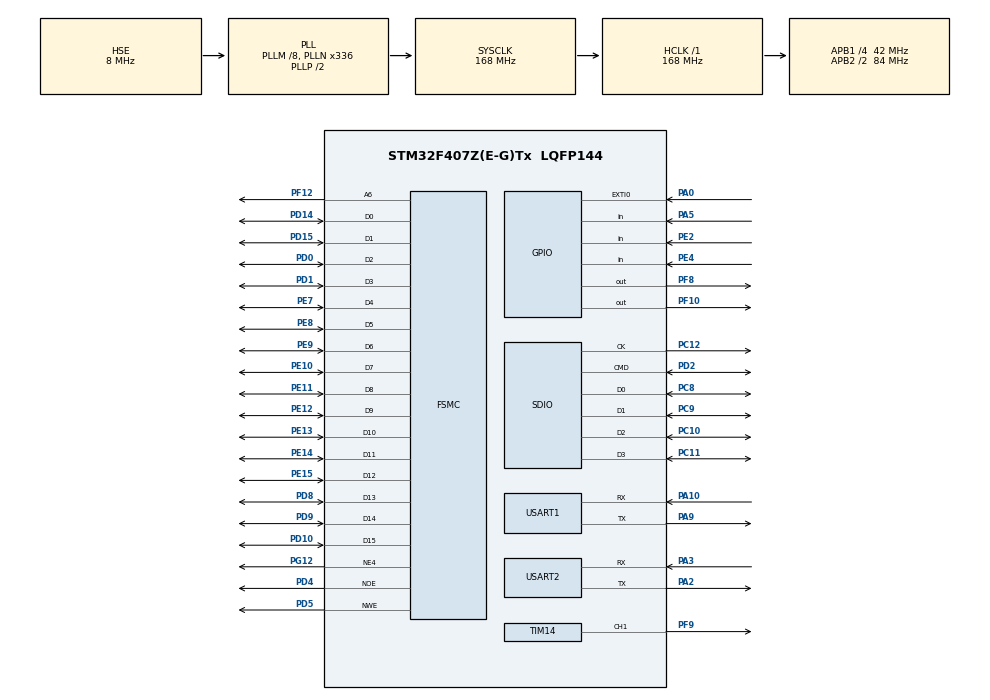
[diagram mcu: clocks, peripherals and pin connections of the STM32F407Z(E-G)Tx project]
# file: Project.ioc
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Dma.Request0=USART2_TX
Dma.Request1=USART2_RX
Dma.Request2=SDIO_RX
Dma.Request3=SDIO_TX
Dma.SDIO_RX.2.Direction=DMA_PERIPH_TO_MEMORY
Dma.SDIO_RX.2.FIFOMode=DMA_FIFOMODE_ENABLE
Dma.SDIO_RX.2.FIFOThreshold=DMA_FIFO_THRESHOLD_FULL
Dma.SDIO_RX.2.Instance=DMA2_Stream3
Dma.SDIO_RX.2.MemBurst=DMA_MBURST_INC4
Dma.SDIO_RX.2.MemDataAlignment=DMA_MDATAALIGN_WORD
Dma.SDIO_RX.2.MemInc=DMA_MINC_ENABLE
Dma.SDIO_RX.2.Mode=DMA_PFCTRL
Dma.SDIO_RX.2.PeriphBurst=DMA_PBURST_INC4
Dma.SDIO_RX.2.PeriphDataAlignment=DMA_PDATAALIGN_WORD
Dma.SDIO_RX.2.PeriphInc=DMA_PINC_DISABLE
Dma.SDIO_RX.2.Priority=DMA_PRIORITY_VERY_HIGH
Dma.SDIO_TX.3.Direction=DMA_MEMORY_TO_PERIPH
Dma.SDIO_TX.3.FIFOMode=DMA_FIFOMODE_ENABLE
Dma.SDIO_TX.3.FIFOThreshold=DMA_FIFO_THRESHOLD_FULL
Dma.SDIO_TX.3.Instance=DMA2_Stream6
Dma.SDIO_TX.3.MemBurst=DMA_MBURST_INC4
Dma.SDIO_TX.3.MemDataAlignment=DMA_MDATAALIGN_WORD
Dma.SDIO_TX.3.MemInc=DMA_MINC_ENABLE
Dma.SDIO_TX.3.Mode=DMA_PFCTRL
Dma.SDIO_TX.3.PeriphBurst=DMA_PBURST_INC4
Dma.SDIO_TX.3.PeriphDataAlignment=DMA_PDATAALIGN_WORD
Dma.SDIO_TX.3.PeriphInc=DMA_PINC_DISABLE
Dma.SDIO_TX.3.Priority=DMA_PRIORITY_VERY_HIGH
Dma.USART2_RX.1.Direction=DMA_PERIPH_TO_MEMORY
Dma.USART2_RX.1.FIFOMode=DMA_FIFOMODE_DISABLE
Dma.USART2_RX.1.Instance=DMA1_Stream5
Dma.USART2_RX.1.MemDataAlignment=DMA_MDATAALIGN_BYTE
Dma.USART2_RX.1.MemInc=DMA_MINC_ENABLE
Dma.USART2_RX.1.Mode=DMA_NORMAL
Dma.USART2_RX.1.PeriphDataAlignment=DMA_PDATAALIGN_BYTE
Dma.USART2_RX.1.PeriphInc=DMA_PINC_DISABLE
Dma.USART2_RX.1.Priority=DMA_PRIORITY_MEDIUM
Dma.USART2_TX.0.Direction=DMA_MEMORY_TO_PERIPH
Dma.USART2_TX.0.FIFOMode=DMA_FIFOMODE_DISABLE
Dma.USART2_TX.0.Instance=DMA1_Stream6
Dma.USART2_TX.0.MemDataAlignment=DMA_MDATAALIGN_BYTE
Dma.USART2_TX.0.MemInc=DMA_MINC_ENABLE
Dma.USART2_TX.0.Mode=DMA_NORMAL
Dma.USART2_TX.0.PeriphDataAlignment=DMA_PDATAALIGN_BYTE
Dma.USART2_TX.0.PeriphInc=DMA_PINC_DISABLE
Dma.USART2_TX.0.Priority=DMA_PRIORITY_MEDIUM
FATFS._USE_LFN=3
FREERTOS.Mutexes01=LcdMutex,Dynamic,NULL,Available
FREERTOS.Queues01=SensorQueue,5,uint32_t,0,Dynamic,NULL,NULL
FREERTOS.Tasks01=Task_ReadSensor,2,512,StartTask_ReadSensor,Default,NULL,Dynamic,NULL,NULL;Task_Display,0,512,StartTask_Display,Default,NULL,Dynamic,NULL,NULL;Task_RS485,0,512,StartTask_RS485,Default,NULL,Dynamic,NULL,NULL;WatchdogTask,-2,128,StartWatchdogTask,Default,NULL,Dynamic,NULL,NULL
IWDG.Prescaler=IWDG_PRESCALER_64
Mcu.Family=STM32F4
Mcu.Name=STM32F407Z(E-G)Tx
Mcu.Package=LQFP144
NVIC.DMA1_Stream5_IRQn=true\:5\:0\:false\:false\:true\:true\:false\:true\:true
NVIC.DMA1_Stream6_IRQn=true\:5\:0\:false\:false\:true\:true\:false\:true\:true
NVIC.DMA2_Stream3_IRQn=true\:5\:0\:false\:false\:true\:true\:false\:true\:true
NVIC.DMA2_Stream6_IRQn=true\:5\:0\:false\:false\:true\:true\:false\:true\:true
NVIC.EXTI0_IRQn=true\:5\:0\:true\:false\:true\:true\:true\:true\:true
NVIC.PriorityGroup=NVIC_PRIORITYGROUP_4
NVIC.SDIO_IRQn=true\:5\:0\:false\:false\:true\:true\:true\:true\:true
NVIC.TIM2_IRQn=true\:5\:0\:false\:false\:true\:true\:true\:true\:true
NVIC.USART1_IRQn=true\:5\:0\:false\:false\:true\:true\:true\:true\:true
NVIC.USART2_IRQn=true\:5\:0\:false\:false\:true\:true\:true\:true\:true
PA0-WKUP.GPIO_PuPd=GPIO_PULLDOWN
PA0-WKUP.Signal=GPXTI0
PA10.Mode=Asynchronous
PA10.Signal=USART1_RX
PA2.Mode=Asynchronous
PA2.Signal=USART2_TX
PA3.Mode=Asynchronous
PA3.Signal=USART2_RX
PA5.GPIO_PuPd=GPIO_PULLUP
PA5.Signal=GPIO_Input
PA9.Mode=Asynchronous
PA9.Signal=USART1_TX
PC10.Mode=SD_4_bits_Wide_bus
PC10.Signal=SDIO_D2
PC11.Mode=SD_4_bits_Wide_bus
PC11.Signal=SDIO_D3
PC12.Mode=SD_4_bits_Wide_bus
PC12.Signal=SDIO_CK
PC8.Mode=SD_4_bits_Wide_bus
PC8.Signal=SDIO_D0
PC9.Mode=SD_4_bits_Wide_bus
PC9.Signal=SDIO_D1
PD0.Signal=FSMC_D2_DA2
PD1.Signal=FSMC_D3_DA3
PD10.Signal=FSMC_D15_DA15
PD14.Signal=FSMC_D0_DA0
PD15.Signal=FSMC_D1_DA1
PD2.Mode=SD_4_bits_Wide_bus
PD2.Signal=SDIO_CMD
PD4.Signal=FSMC_NOE
PD5.Signal=FSMC_NWE
PD8.Signal=FSMC_D13_DA13
PD9.Signal=FSMC_D14_DA14
PE10.Signal=FSMC_D7_DA7
PE11.Signal=FSMC_D8_DA8
PE12.Signal=FSMC_D9_DA9
PE13.Signal=FSMC_D10_DA10
PE14.Signal=FSMC_D11_DA11
PE15.Signal=FSMC_D12_DA12
PE2.GPIO_PuPd=GPIO_PULLUP
PE2.Signal=GPIO_Input
PE4.GPIO_PuPd=GPIO_PULLUP
PE4.Signal=GPIO_Input
PE7.Signal=FSMC_D4_DA4
PE8.Signal=FSMC_D5_DA5
PE9.Signal=FSMC_D6_DA6
PF10.GPIO_PuPd=GPIO_PULLUP
PF10.Signal=GPIO_Output
PF12.Signal=FSMC_A6
PF8.GPIO_Speed=GPIO_SPEED_FREQ_HIGH
PF8.PinState=GPIO_PIN_RESET
PF8.Signal=GPIO_Output
PF9.Signal=S_TIM14_CH1
PG12.Mode=NorPsramChipSelect4_1
PG12.Signal=FSMC_NE4
PH0-OSC_IN.Mode=HSE-External-Oscillator
PH0-OSC_IN.Signal=RCC_OSC_IN
PH1-OSC_OUT.Mode=HSE-External-Oscillator
PH1-OSC_OUT.Signal=RCC_OSC_OUT
ProjectManager.HeapSize=0x200
ProjectManager.StackSize=0x400
ProjectManager.TargetToolchain=MDK-ARM V5.32
RCC.48MHZClocksFreq_Value=48000000
RCC.AHBFreq_Value=168000000
RCC.APB1CLKDivider=RCC_HCLK_DIV4
RCC.APB1Freq_Value=42000000
RCC.APB1TimFreq_Value=84000000
RCC.APB2CLKDivider=RCC_HCLK_DIV2
RCC.APB2Freq_Value=84000000
RCC.APB2TimFreq_Value=168000000
RCC.CortexFreq_Value=168000000
RCC.HCLKFreq_Value=168000000
RCC.HSE_VALUE=8000000
RCC.HSI_VALUE=16000000
RCC.LSE_VALUE=32768
RCC.PLLM=8
RCC.PLLN=336
RCC.PLLQ=7
RCC.PLLSourceVirtual=RCC_PLLSOURCE_HSE
RCC.SYSCLKFreq_VALUE=168000000
RCC.SYSCLKSource=RCC_SYSCLKSOURCE_PLLCLK
RCC.VCOOutputFreq_Value=336000000
SH.FSMC_A6.0=FSMC_A6,A6_1
SH.FSMC_D0_DA0.0=FSMC_D0,16b-d1
SH.FSMC_D10_DA10.0=FSMC_D10,16b-d1
SH.FSMC_D11_DA11.0=FSMC_D11,16b-d1
SH.FSMC_D12_DA12.0=FSMC_D12,16b-d1
SH.FSMC_D13_DA13.0=FSMC_D13,16b-d1
SH.FSMC_D14_DA14.0=FSMC_D14,16b-d1
SH.FSMC_D15_DA15.0=FSMC_D15,16b-d1
SH.FSMC_D1_DA1.0=FSMC_D1,16b-d1
SH.FSMC_D2_DA2.0=FSMC_D2,16b-d1
SH.FSMC_D3_DA3.0=FSMC_D3,16b-d1
SH.FSMC_D4_DA4.0=FSMC_D4,16b-d1
SH.FSMC_D5_DA5.0=FSMC_D5,16b-d1
SH.FSMC_D6_DA6.0=FSMC_D6,16b-d1
SH.FSMC_D7_DA7.0=FSMC_D7,16b-d1
SH.FSMC_D8_DA8.0=FSMC_D8,16b-d1
SH.FSMC_D9_DA9.0=FSMC_D9,16b-d1
SH.FSMC_NOE.0=FSMC_NOE,Lcd1
SH.FSMC_NWE.0=FSMC_NWE,Lcd1
SH.S_TIM14_CH1.0=TIM14_CH1,PWM Generation1 CH1
TIM14.Channel=TIM_CHANNEL_1
TIM14.Period=999
TIM14.Prescaler=8400-1
TIM2.AutoReloadPreload=TIM_AUTORELOAD_PRELOAD_ENABLE
TIM2.Period=0xFFFFFFFF
TIM2.Prescaler=83
USART1.VirtualMode=VM_ASYNC
USART2.VirtualMode=VM_ASYNC
VP_FATFS_VS_SDIO.Mode=SDIO
VP_FREERTOS_VS_CMSIS_V1.Mode=CMSIS_V1
VP_IWDG_VS_IWDG.Mode=IWDG_Activate
VP_TIM14_VS_ClockSourceINT.Mode=Enable_Timer
VP_TIM2_VS_ClockSourceINT.Mode=Internal
board=custom

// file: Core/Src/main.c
/* USER CODE BEGIN Header */
/**
  ******************************************************************************
  * @file           : main.c
  * @brief          : Main program body
  ******************************************************************************
  * @attention
  *
  * Copyright (c) 2026 STMicroelectronics.
  * All rights reserved.
  *
  * This software is licensed under terms that can be found in the LICENSE file
  * in the root directory of this software component.
  * If no LICENSE file comes with this software, it is provided AS-IS.
  *
  ******************************************************************************
  */
/* USER CODE END Header */
#include "main.h"
#include "cmsis_os.h"
#include "dma.h"
#include "fatfs.h"
#include "sdio.h"
#include "tim.h"
#include "usart.h"
#include "gpio.h"
#include "fsmc.h"

/* USER CODE BEGIN Includes */
#include "delay.h"
#include<stdio.h>
#include "flash.h"

extern uint8_t set_mode_flag;
extern UART_HandleTypeDef huart1;
/* USER CODE END Includes */

/* USER CODE BEGIN PV */
float temp_alarm_threshold;

/* USER CODE END PV */

void SystemClock_Config(void);
void MX_FREERTOS_Init(void);

/* USER CODE BEGIN 0 */
int fputc(int ch, FILE *f)
{
  HAL_UART_Transmit(&huart2, (uint8_t *)&ch, 1, 0xFFFF);
  return ch;
}
/* USER CODE END 0 */

int main(void)
{

  /* MCU Configuration--------------------------------------------------------*/

  /* Reset of all peripherals, Initializes the Flash interface and the Systick. */
  HAL_Init();

  /* Configure the system clock */
  SystemClock_Config();

  /* Initialize all configured peripherals */
  MX_GPIO_Init();
  MX_DMA_Init();
  MX_SDIO_SD_Init();
  MX_TIM2_Init();
  MX_USART1_UART_Init();
  MX_USART2_UART_Init();
  MX_FATFS_Init();
  MX_TIM14_Init();
  MX_FSMC_Init();
  /* USER CODE BEGIN 2 */
  delay_init(168); // 168MHz
  set_mode_flag = 0;

  /* USER CODE END 2 */

  /* Call init function for freertos objects (in cmsis_os2.c) */
  MX_FREERTOS_Init();

  /* Start scheduler */
  osKernelStart();

  /* We should never get here as control is now taken by the scheduler */

  /* Infinite loop */
  while (1)
  {
	}
}

void SystemClock_Config(void)
{
  RCC_OscInitTypeDef RCC_OscInitStruct = {0};
  RCC_ClkInitTypeDef RCC_ClkInitStruct = {0};

  /** Configure the main internal regulator output voltage
  */
  __HAL_RCC_PWR_CLK_ENABLE();
  __HAL_PWR_VOLTAGESCALING_CONFIG(PWR_REGULATOR_VOLTAGE_SCALE1);

  /** Initializes the RCC Oscillators according to the specified parameters
  * in the RCC_OscInitTypeDef structure.
  */
  RCC_OscInitStruct.OscillatorType = RCC_OSCILLATORTYPE_HSE;
  RCC_OscInitStruct.HSEState = RCC_HSE_ON;
  RCC_OscInitStruct.PLL.PLLState = RCC_PLL_ON;
  RCC_OscInitStruct.PLL.PLLSource = RCC_PLLSOURCE_HSE;
  RCC_OscInitStruct.PLL.PLLM = 8;
  RCC_OscInitStruct.PLL.PLLN = 336;
  RCC_OscInitStruct.PLL.PLLP = RCC_PLLP_DIV2;
  RCC_OscInitStruct.PLL.PLLQ = 7;
  if (HAL_RCC_OscConfig(&RCC_OscInitStruct) != HAL_OK)
  {
    Error_Handler();
  }

  /** Initializes the CPU, AHB and APB buses clocks
  */
  RCC_ClkInitStruct.ClockType = RCC_CLOCKTYPE_HCLK|RCC_CLOCKTYPE_SYSCLK
                              |RCC_CLOCKTYPE_PCLK1|RCC_CLOCKTYPE_PCLK2;
  RCC_ClkInitStruct.SYSCLKSource = RCC_SYSCLKSOURCE_PLLCLK;
  RCC_ClkInitStruct.AHBCLKDivider = RCC_SYSCLK_DIV1;
  RCC_ClkInitStruct.APB1CLKDivider = RCC_HCLK_DIV4;
  RCC_ClkInitStruct.APB2CLKDivider = RCC_HCLK_DIV2;

  if (HAL_RCC_ClockConfig(&RCC_ClkInitStruct, FLASH_LATENCY_5) != HAL_OK)
  {
    Error_Handler();
  }
}

void Error_Handler(void)
{
  __disable_irq();
  while (1)
  {
  }
}

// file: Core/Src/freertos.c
/* USER CODE BEGIN Header */
/**
  ******************************************************************************
  * File Name          : freertos.c
  * Description        : Code for freertos applications
  ******************************************************************************
  * @attention
  *
  * Copyright (c) 2026 STMicroelectronics.
  * All rights reserved.
  *
  * This software is licensed under terms that can be found in the LICENSE file
  * in the root directory of this software component.
  * If no LICENSE file comes with this software, it is provided AS-IS.
  *
  ******************************************************************************
  */
/* USER CODE END Header */

#include "FreeRTOS.h"
#include "task.h"
#include "main.h"
#include "cmsis_os.h"

/* USER CODE BEGIN Includes */
#include <string.h>
#include <stdio.h>
#include "delay.h"
#include "main.h"
#include "dht11.h"
#include "usart.h"
#include "lcd.h"
#include "flash.h"
#include "alarm.h"
#include "rs485.h"
#include "keytpad_input.h"
#include "fatfs.h"
#include "sdio.h"

/* USER CODE END Includes */

/* USER CODE BEGIN Variables */
// 一条消息：存放温度、湿度
typedef struct
{
  float temp;
  float humi;
  uint8_t ok; // 1成功，0失败
} SensorMsg_t;

//====新增轮换缓冲区，3块足够
static SensorMsg_t gMsgPoolSensor[5]; // 专供 Display
static SensorMsg_t gMsgPoolRS485[5];  // 专供 RS485
static uint8_t idxSensor = 0;
static uint8_t idxRS485 = 0;

typedef struct
{
  float temp;
  float humi;
  uint8_t ok;
} SensorData_t;

//====温湿度独立报警阈值====
//====温湿度报警阈值 (大棚用)====
float temp_alarm_high = 35.0f; // 温度上限
float temp_alarm_low = 5.0f;   // 温度下限
float humi_alarm_high = 95.0f; // 湿度上限
float humi_alarm_low = 30.0f;  // 湿度下限
uint8_t set_mode_flag;

// 在文件顶部定义状态
typedef enum
{
  MODE_NORMAL = 0, // 正常显示模式
  MODE_SET_TEMP,   // 设置温度阈值模式
  MODE_SET_HUMI    // 设置湿度阈值模式
} SystemMode_t;

#define RX_BUF_SIZE 128
uint8_t rx_byte;             // 单字节接收缓存
uint8_t rx_buf[RX_BUF_SIZE]; // 整帧缓存
uint16_t rx_index = 0;       // 当前写入位置
uint8_t rx_frame_ready = 0;  // 一帧接收完成标志

extern volatile uint16_t u1_rx_len; // 引用 usart.c 里的全局变量
extern uint8_t u1_rx_buf[];
extern volatile uint8_t u1_frame_ready;
extern void Reset_Uart(void);
#define USART1_RX_BUF_SIZE 128 // 全局状态变量
// static SystemMode_t sys_mode = MODE_NORMAL;
// static uint8_t setting_choice = 0; // 0=温度, 1=湿度

// 全局变量版本
//  float g_temperature = 0.0f;
//  float g_humidity = 0.0f;
//  uint8_t g_sensor_ok = 0; // 0=失败, 1=成功

//看门狗任务标志位
#define TASK_READ_SENSOR_BIT (1 << 0)
#define TASK_DISPLAY_BIT (1 << 1)
#define TASK_RS485_BIT (1 << 2)
#define ALL_TASK_BITS (TASK_READ_SENSOR_BIT | TASK_DISPLAY_BIT | TASK_RS485_BIT)

static volatile uint32_t g_task_alive_flags = 0;
volatile uint32_t g_wdg_feed_count = 0; // 调试用
extern IWDG_HandleTypeDef hiwdg;
/* USER CODE END Variables */

osMessageQId RS485QueueHandle;
/* USER CODE END Variables */
osThreadId Task_ReadSensorHandle;
osThreadId Task_DisplayHandle;
osThreadId Task_RS485Handle;
osThreadId WatchdogTaskHandle;
osMessageQId SensorQueueHandle;
osMutexId LcdMutexHandle;

/* USER CODE BEGIN FunctionPrototypes */
uint8_t USART1_GetSensorData(SensorData_t *out)
{
  if (!u1_frame_ready)
    return 0; /* 没有新帧，直接返回 */

  u1_frame_ready = 0;

  /* 补字符串结束符，方便 sscanf */
  if (u1_rx_len < USART1_RX_BUF_SIZE)
    u1_rx_buf[u1_rx_len] = '\0';

  /* 解析 "#T=%f,H=%f" */
  if (sscanf((char *)u1_rx_buf, "#T=%f,H=%f", &out->temp, &out->humi) == 2)
    out->ok = 1;
  else
    out->ok = 0;

  /* 处理完，重启接收，等下一帧 */
  Reset_Uart();

  return 1; /* 处理了一帧 */
}
/* USER CODE END FunctionPrototypes */

void StartTask_ReadSensor(void const * argument);
void StartTask_Display(void const * argument);
void StartTask_RS485(void const * argument);
void StartWatchdogTask(void const * argument);

void MX_FREERTOS_Init(void); /* (MISRA C 2004 rule 8.1) */

/* GetIdleTaskMemory prototype (linked to static allocation support) */
void vApplicationGetIdleTaskMemory( StaticTask_t **ppxIdleTaskTCBBuffer, StackType_t **ppxIdleTaskStackBuffer, uint32_t *pulIdleTaskStackSize );

/* USER CODE BEGIN GET_IDLE_TASK_MEMORY */
static StaticTask_t xIdleTaskTCBBuffer;
static StackType_t xIdleStack[configMINIMAL_STACK_SIZE];

void vApplicationGetIdleTaskMemory( StaticTask_t **ppxIdleTaskTCBBuffer, StackType_t **ppxIdleTaskStackBuffer, uint32_t *pulIdleTaskStackSize )
{
  *ppxIdleTaskTCBBuffer = &xIdleTaskTCBBuffer;
  *ppxIdleTaskStackBuffer = &xIdleStack[0];
  *pulIdleTaskStackSize = configMINIMAL_STACK_SIZE;
  /* place for user code */
}
/* USER CODE END GET_IDLE_TASK_MEMORY */

void MX_FREERTOS_Init(void) {
  /* Create the mutex(es) */
  /* definition and creation of LcdMutex */
  osMutexDef(LcdMutex);
  LcdMutexHandle = osMutexCreate(osMutex(LcdMutex));

  /* Create the queue(s) */
  /* definition and creation of SensorQueue */
  osMessageQDef(SensorQueue, 5, uint32_t);
  SensorQueueHandle = osMessageCreate(osMessageQ(SensorQueue), NULL);

  /* USER CODE BEGIN RTOS_QUEUES */
  // ===== 为 RS485 创建独立队列 =====
  osMessageQDef(RS485Queue, 5, uint32_t);
  RS485QueueHandle = osMessageCreate(osMessageQ(RS485Queue), NULL);

  /* USER CODE END RTOS_QUEUES */

  /* Create the thread(s) */
  /* definition and creation of Task_ReadSensor */
  osThreadDef(Task_ReadSensor, StartTask_ReadSensor, osPriorityHigh, 0, 512);
  Task_ReadSensorHandle = osThreadCreate(osThread(Task_ReadSensor), NULL);

  /* definition and creation of Task_Display */
  osThreadDef(Task_Display, StartTask_Display, osPriorityNormal, 0, 512);
  Task_DisplayHandle = osThreadCreate(osThread(Task_Display), NULL);

  /* definition and creation of Task_RS485 */
  osThreadDef(Task_RS485, StartTask_RS485, osPriorityNormal, 0, 512);
  Task_RS485Handle = osThreadCreate(osThread(Task_RS485), NULL);

  /* definition and creation of WatchdogTask */
  osThreadDef(WatchdogTask, StartWatchdogTask, osPriorityLow, 0, 128);
  WatchdogTaskHandle = osThreadCreate(osThread(WatchdogTask), NULL);

}

void StartTask_ReadSensor(void const * argument)
{
  /* USER CODE BEGIN StartTask_ReadSensor */
  SensorData_t sd;
  float temp = 0.0f, humi = 0.0f;
  uint8_t parse_ok;
  char buffer[64];
  uint8_t ret;
  // DHT11_Init(); // ✅DHT11硬件初始化，仅执行一次！！

  /* Infinite loop */
  for(;;)
  {
    //================================ DHT11温湿度传感器
    // // ===== 临界区保护 DHT11 读取（禁用任务切换） =====
    // // taskENTER_CRITICAL();//全局变量的互斥锁在队列不需要用
    // ret = DHT11_Read(&temp, &humi);
    // // taskEXIT_CRITICAL(); // 全局变量的互斥锁在队列不需要用
    // =================================================
    if (USART1_GetSensorData(&sd))
    {
      if (sd.ok)
      {
        /* ===== Display 池 ===== */
        SensorMsg_t *pS = &gMsgPoolSensor[idxSensor];
        pS->ok = 1;
        pS->temp = sd.temp;
        pS->humi = sd.humi;
        osMessagePut(SensorQueueHandle, (uint32_t)pS, 10);
        idxSensor = (idxSensor + 1) % 5; // ← 轮换

        /* ===== RS485 池 ===== */
        SensorMsg_t *pR = &gMsgPoolRS485[idxRS485];
        pR->ok = 1;
        pR->temp = sd.temp;
        pR->humi = sd.humi;
        osMessagePut(RS485QueueHandle, (uint32_t)pR, 10);
        idxRS485 = (idxRS485 + 1) % 5; // ← 轮换

        sprintf(buffer, "Board1: T=%.1f H=%.1f\r\n", sd.temp, sd.humi);
        HAL_UART_Transmit(&huart1, (uint8_t *)buffer, strlen(buffer), 100);
        HAL_GPIO_WritePin(GPIOF, GPIO_PIN_10, GPIO_PIN_RESET);
      }
      else
      {
        HAL_UART_Transmit(&huart1, (uint8_t *)"Parse fail\r\n", 12, 100);
        HAL_GPIO_WritePin(GPIOF, GPIO_PIN_10, GPIO_PIN_SET);
      }
    }
    g_task_alive_flags |= TASK_READ_SENSOR_BIT;
    osDelay(10); // FreeRTOS的延时函数
    }
  /* USER CODE END StartTask_ReadSensor */
}

void StartTask_Display(void const * argument)
{
  /* USER CODE BEGIN StartTask_Display */
  char lcd_buf[32];
  osEvent evt;
  SensorMsg_t *pMsg;
// osStatus status;  // ← 注释掉未使用的变量

  // ============================================================
  // ===== 从 Flash 读取保存的阈值 =====
  // ============================================================
  float saved_temp_high, saved_temp_low, saved_humi_high, saved_humi_low;
  Flash_Read_All(&saved_temp_high, &saved_temp_low, &saved_humi_high, &saved_humi_low);

  // 赋值给全局变量（在 freertos.c 顶部定义的）
  temp_alarm_high = saved_temp_high;
  temp_alarm_low = saved_temp_low;
  humi_alarm_high = saved_humi_high;
  humi_alarm_low = saved_humi_low;

// ===== 呼吸灯参数 =====
#define BREATH_MAX 1000

  // ===== 呼吸灯变量 =====
  static uint16_t breath_pwm = 0;
  static uint8_t breath_dir = 1;

  lcd_init();
  lcd_clear(WHITE);

  // ===== 启动 PWM =====
  HAL_TIM_PWM_Start(&htim14, TIM_CHANNEL_1);

  // ===== 初始状态：红灯熄灭（低电平点亮 → 占空比 100% = 熄灭） =====
  __HAL_TIM_SET_COMPARE(&htim14, TIM_CHANNEL_1, 1000);

  lcd_show_string(20, 15, 200, 24, 24, "ENV MONITOR", BLUE);
  lcd_show_string(20, 274, 200, 16, 16, "PA0=SET PE2=ADD PE4=SUB", BLACK);
  static SetMode_t prev_mode = SET_MODE_NORMAL;
  for (;;)

  {
    // evt = osMessageGet(SensorQueueHandle, osWaitForever);
    evt = osMessageGet(SensorQueueHandle, 1000); // 最多等 10s
    osMutexWait(LcdMutexHandle, osWaitForever);

    if (evt.status == osEventMessage)
    {
      pMsg = (SensorMsg_t *)evt.value.p;
      if (pMsg->ok == 1)
      {

        // ============================================================
        // ===== 🔧 第一步：检查是否处于设置模式（优先级最高） =====
        // ============================================================
        SetMode_t set_mode = Key_GetSetMode();

        /* 记住是不是刚从设置模式退出 */
        uint8_t just_exit_set = (prev_mode != SET_MODE_NORMAL && set_mode == SET_MODE_NORMAL);
        prev_mode = set_mode; /* 更新 prev_mode */

        if (set_mode != SET_MODE_NORMAL)
        {
          // ===== 静态变量记录上次的设置模式和值 =====
          static SetMode_t last_set_mode = SET_MODE_NORMAL;
          static uint16_t last_set_value = 0;

          uint16_t current_value = Key_GetSetValue();

          // ✅ 只有设置模式变化或值变化时才刷新
          if (set_mode != last_set_mode || current_value != last_set_value)
          {
            // ============================================================
            // ===== 设置模式界面 =====
            // ============================================================
            // 一次性清空 y=40~266 所有数据区域
            lcd_fill(20, 40, 220, 224, WHITE);

            const char *mode_str[] = {"NORMAL", "TEMP LOW", "TEMP HIGH", "HUMI LOW", "HUMI HIGH"};
            char set_buf[32];

            sprintf(set_buf, "SET: %s", mode_str[set_mode]);
            lcd_show_string(20, 40, 200, 24, 24, set_buf, BLUE);

            sprintf(set_buf, "Value: %d", Key_GetSetValue());
            lcd_show_string(20, 80, 200, 24, 24, set_buf, BLUE);

            lcd_show_string(20, 250, 200, 16, 16, "Long PA0=Cancel", BLACK);

            // ✅ 更新记录
            last_set_mode = set_mode;
            last_set_value = current_value;
          }

          // ===== 设置模式下：屏蔽报警（红灯熄灭） =====
          HAL_GPIO_WritePin(GPIOF, GPIO_PIN_8, GPIO_PIN_RESET);
          __HAL_TIM_SET_COMPARE(&htim14, TIM_CHANNEL_1, BREATH_MAX);

          }
        else
        {
          // ============================================================
          // ===== 正常模式 =====
          // ============================================================
          // ===== ✅ 定义静态变量（函数开头） =====
          static float last_temp = 0;
          static float last_humi = 0;
          static uint8_t last_alarm = 0xFF;

          // ===== ✅ 判断是否需要刷新 =====
          uint8_t alarm_state = Alarm_IsTriggered();
          uint8_t need_refresh = 0;

          /* ★ 刚退出设置模式，强制刷新 */
          if (just_exit_set)
          {
            need_refresh = 1;
          }
          if (pMsg->temp != last_temp || pMsg->humi != last_humi)
          {
            need_refresh = 1;
          }
          if (alarm_state != last_alarm)
          {
            need_refresh = 1;
          }
          // ===== ✅ 只有变化时才需要刷新 =====
          if (need_refresh)
          {
            // ===== LCD 显示 =====
            // 一次性清空 y=40~266 所有数据区域
            lcd_fill(20, 40, 220, 266, WHITE);

            sprintf(lcd_buf, "Temp:%.1f C", pMsg->temp);
            lcd_show_string(20, 40, 200, 24, 24, lcd_buf, BLACK);

            sprintf(lcd_buf, "Humi:%.1f %%", pMsg->humi);
            lcd_show_string(20, 80, 200, 24, 24, lcd_buf, BLACK);

            sprintf(lcd_buf, "T:%.1f~%.1f C", temp_alarm_low, temp_alarm_high);
            lcd_show_string(20, 120, 200, 24, 24, lcd_buf, BLACK);

            sprintf(lcd_buf, "H:%.1f~%.1f %%", humi_alarm_low, humi_alarm_high);
            lcd_show_string(20, 160, 200, 24, 24, lcd_buf, BLACK);
            // ===== ✅ 更新记录 =====
            last_temp = pMsg->temp;
            last_humi = pMsg->humi;
            last_alarm = alarm_state;
          }
            // ===== 报警检测 =====
            Alarm_Update(pMsg->temp, pMsg->humi,
                         temp_alarm_high, temp_alarm_low,
                         humi_alarm_high, humi_alarm_low);

            // ============================================================
            // ===== 🔥 红灯控制 =====
            // ============================================================
            if (Alarm_IsTriggered())
            {
              // ===== 🚨 报警：温度越界越严重，呼吸越快 =====
              HAL_GPIO_WritePin(GPIOF, GPIO_PIN_8, GPIO_PIN_SET);

              // ---- 计算温度越界程度 ----
              float over_ratio = 0.0f;
              float temp = pMsg->temp;

              if (temp > temp_alarm_high)
              {
                over_ratio = (temp - temp_alarm_high) / (temp_alarm_high * 0.3f);
              }
              else if (temp < temp_alarm_low)
              {
                over_ratio = (temp_alarm_low - temp) / (temp_alarm_low * 0.3f);
              }

              if (over_ratio < 0)
                over_ratio = 0;
              if (over_ratio > 1)
                over_ratio = 1;

              // ---- 越界程度 → 呼吸步长（10~100） ----
              uint16_t dynamic_step = 10 + (uint16_t)(over_ratio * 90);

              // ---- 呼吸算法（用动态步长） ----
              if (breath_dir)
              {
                breath_pwm += dynamic_step;
                if (breath_pwm >= BREATH_MAX)
                {
                  breath_pwm = BREATH_MAX;
                  breath_dir = 0;
                }
              }
              else
              {
                if (breath_pwm > dynamic_step)
                {
                  breath_pwm -= dynamic_step;
                }
                else
                {
                  breath_pwm = 0;
                  breath_dir = 1;
                }
              }

              __HAL_TIM_SET_COMPARE(&htim14, TIM_CHANNEL_1, BREATH_MAX - breath_pwm);

              lcd_fill(20, 200, 220, 224, WHITE);

              // 获取报警类型
              uint8_t alarm_type = Alarm_GetType();
              const char *type_str[] = {"Recovered", "TEMP HIGH", "TEMP LOW", "HUMI HIGH", "HUMI LOW", "BOTH"};

              char alarm_buf[32];
              sprintf(alarm_buf, "ALARM:[%s]", type_str[alarm_type]);
              lcd_show_string(20, 200, 200, 24, 24, alarm_buf, RED);
            }
            else
            {
              // ===== ✅ 正常：红灯熄灭 =====
              HAL_GPIO_WritePin(GPIOF, GPIO_PIN_8, GPIO_PIN_RESET);
              __HAL_TIM_SET_COMPARE(&htim14, TIM_CHANNEL_1, BREATH_MAX);

              lcd_fill(20, 200, 240, 224, WHITE);

              AlarmState_t state = Alarm_GetState();
              if (state == ALARM_STATE_WARNING)
              {
                uint8_t cnt = Alarm_GetContinuousCount();
                sprintf(lcd_buf, "Warning:%d/5", cnt);
                lcd_show_string(20, 200, 200, 24, 24, lcd_buf, BLUE);
              }
              else if (state == ALARM_STATE_CLEARING)
              {
                uint8_t cnt = Alarm_GetNormalCount();
                sprintf(lcd_buf, "Clearing:%d/3", cnt);
                lcd_show_string(20, 200, 200, 24, 24, lcd_buf, GREEN);
              }
              else
              {
                lcd_show_string(20, 200, 200, 24, 24, "Temp Humi Normal", BLACK);
              }
            }
          } // ===== 正常模式结束 =====

      }
      else
      {
        // ===== 传感器错误 =====
        lcd_fill(20, 40, 220, 64, WHITE);
        lcd_fill(20, 80, 220, 104, WHITE);
        lcd_show_string(20, 40, 220, 24, 24, "Sensor Error!", BLACK);

        HAL_GPIO_WritePin(GPIOF, GPIO_PIN_8, GPIO_PIN_RESET);

        // 传感器错误：红灯常亮（0 = 最亮）
        __HAL_TIM_SET_COMPARE(&htim14, TIM_CHANNEL_1, 0);
      }
    }

    osMutexRelease(LcdMutexHandle);
    // ===== 按键扫描（互斥锁释放之后） =====
    Key_Process();
    g_task_alive_flags |= TASK_DISPLAY_BIT;
    osDelay(10);
  }
  /* USER CODE END StartTask_Display */
}

void StartTask_RS485(void const * argument)
{
  /* USER CODE BEGIN StartTask_RS485 */
  osEvent evt;
  SensorMsg_t *pMsg;

  // ===== ✅ 1. 先初始化 RS485 =====
  rs485_init(115200);
  HAL_UART_Transmit(&huart1, (uint8_t *)"RS485 Task Started\r\n", 20, 100);

  // ===== ✅ 2. 延迟，让系统稳定 =====
  osDelay(500);

  // ===== ✅ 3. SD 卡相关变量 =====
  FATFS fs;
  FIL file;
  FRESULT res;
  uint32_t bytes_written;
  uint8_t sd_ready = 0;
  uint8_t file_opened = 0;

  // ============================================================
  // ===== ✅ 4. 强制初始化 SD 卡硬件 =====
  // ============================================================
  HAL_UART_Transmit(&huart1, (uint8_t *)"BSP_SD_Init Start...\r\n", 23, 100);

  uint8_t sd_init_ret = BSP_SD_Init();
  char dbg_buf[32];
  sprintf(dbg_buf, "BSP_SD_Init ret: %d\r\n", sd_init_ret);
  HAL_UART_Transmit(&huart1, (uint8_t *)dbg_buf, strlen(dbg_buf), 100);

  if (sd_init_ret == MSD_OK)
  {
    HAL_UART_Transmit(&huart1, (uint8_t *)"BSP_SD_Init OK\r\n", 17, 100);
  }
  else
  {
    HAL_UART_Transmit(&huart1, (uint8_t *)"BSP_SD_Init Failed!\r\n", 22, 100);
  }

  // ===== ✅ 5. 获取 SD 卡信息 =====
  BSP_SD_CardInfo card_info;
  BSP_SD_GetCardInfo(&card_info);
  sprintf(dbg_buf, "Blocks: %d, Size: %d\r\n",
          card_info.LogBlockNbr, card_info.LogBlockSize);
  HAL_UART_Transmit(&huart1, (uint8_t *)dbg_buf, strlen(dbg_buf), 100);

  // ===== ✅ 6. 挂载 FATFS =====
  HAL_UART_Transmit(&huart1, (uint8_t *)"f_mount...\r\n", 12, 100);

  res = f_mount(&fs, "0:", 1);
  sprintf(dbg_buf, "f_mount ret: %d\r\n", res);
  HAL_UART_Transmit(&huart1, (uint8_t *)dbg_buf, strlen(dbg_buf), 100);

  if (res == FR_OK)
  {
    sd_ready = 1;
    HAL_UART_Transmit(&huart1, (uint8_t *)"SD Card Mount OK\r\n", 18, 100);

    // ✅ 直接使用完整路径，不需要 f_chdir
    res = f_open(&file, "0:sensor_data.csv", FA_CREATE_ALWAYS | FA_OPEN_APPEND | FA_WRITE);
    if (res == FR_OK)
    {
      f_lseek(&file, 0);
      if (f_size(&file) == 0)
      {
        f_write(&file, "Timestamp,Temperature,Humidity\r\n", 31, &bytes_written);
        f_sync(&file);
      }
      file_opened = 1;
      f_close(&file);
      HAL_UART_Transmit(&huart1, (uint8_t *)"CSV file ready\r\n", 16, 100);
    }
    else
    {
      sprintf(dbg_buf, "f_open error: %d\r\n", res);
      HAL_UART_Transmit(&huart1, (uint8_t *)dbg_buf, strlen(dbg_buf), 100);
    }
  }
  else
  {
    HAL_UART_Transmit(&huart1, (uint8_t *)"SD Card Mount Failed\r\n", 22, 100);
  }

// ===== ✅ 7. 批量保存缓冲区 =====
#define SAVE_BUF_SIZE 15
  typedef struct
  {
    float temp;
    float humi;
    uint32_t timestamp;
  } SaveData_t;

  static SaveData_t save_buf[SAVE_BUF_SIZE];
  static uint8_t buf_count = 0;
  static uint32_t last_save_time = 0;
  last_save_time = HAL_GetTick();

  /* Infinite loop */
  for (;;)
  {
    evt = osMessageGet(RS485QueueHandle, 1000);
    g_task_alive_flags |= TASK_RS485_BIT;
    if (evt.status == osEventMessage)
    {
      pMsg = (SensorMsg_t *)evt.value.p;
      if (pMsg->ok == 1)
      {
        rs485_send_frame(pMsg->temp, pMsg->humi);

        char buf[64];
        sprintf(buf, "RS485 Send: T=%.1f H=%.1f\r\n", pMsg->temp, pMsg->humi);
        HAL_UART_Transmit(&huart1, (uint8_t *)buf, strlen(buf), 100);

        if (sd_ready == 1 && file_opened == 1)
        {
          save_buf[buf_count].temp = pMsg->temp;
          save_buf[buf_count].humi = pMsg->humi;
          save_buf[buf_count].timestamp = HAL_GetTick() / 1000;
          buf_count++;

          uint32_t now = HAL_GetTick();
          if (buf_count >= SAVE_BUF_SIZE || (now - last_save_time) >= 30000)
          {
            res = f_open(&file, "0:sensor_data.csv", FA_OPEN_APPEND | FA_WRITE);
            if (res == FR_OK)
            {
              for (int i = 0; i < buf_count; i++)
              {
                sprintf(buf, "%lu,%.1f,%.1f\r\n",
                        save_buf[i].timestamp,
                        save_buf[i].temp,
                        save_buf[i].humi);
                f_write(&file, (uint8_t *)buf, strlen(buf), &bytes_written);
              }
              f_sync(&file);
              f_close(&file);

              sprintf(buf, "SD Saved %d records\r\n", buf_count);
              HAL_UART_Transmit(&huart1, (uint8_t *)buf, strlen(buf), 100);

              buf_count = 0;
              last_save_time = now;
            }
          }
        }
      }
    }
  }
  /* USER CODE END StartTask_RS485 */
}

void StartWatchdogTask(void const * argument)
{
  /* USER CODE BEGIN StartWatchdogTask */
  /* Infinite loop */
  for(;;)
  {
    // 所有任务都报到过，才喂狗
    if (g_task_alive_flags == ALL_TASK_BITS)
    {
      g_task_alive_flags = 0;
      HAL_IWDG_Refresh(&hiwdg);
      g_wdg_feed_count++; // 调试计数
    }
    osDelay(1000);
  }
  /* USER CODE END StartWatchdogTask */
}
